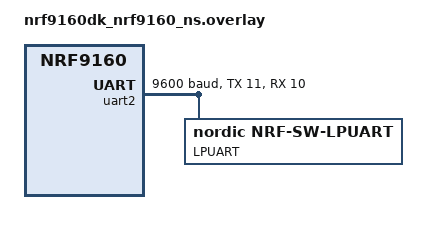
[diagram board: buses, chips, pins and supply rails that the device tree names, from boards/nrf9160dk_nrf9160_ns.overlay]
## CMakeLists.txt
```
#
# Copyright (c) 2020 Nordic Semiconductor
#
# SPDX-License-Identifier: LicenseRef-Nordic-5-Clause
#

cmake_minimum_required(VERSION 3.20.0)

find_package(Zephyr REQUIRED HINTS $ENV{ZEPHYR_BASE})

get_target_property(TFM_BINARY_DIR tfm TFM_BINARY_DIR)
configure_file(
  ${CMAKE_CURRENT_LIST_DIR}/dummy_partition/tfm_manifest_list.yaml.in
  ${CMAKE_CURRENT_BINARY_DIR}/dummy_partition/tfm_manifest_list.yaml
)

set_property(TARGET zephyr_property_target
  APPEND PROPERTY TFM_CMAKE_OPTIONS
  -DTFM_EXTRA_MANIFEST_LIST_FILES=${CMAKE_CURRENT_BINARY_DIR}/dummy_partition/tfm_manifest_list.yaml
  -DTFM_EXTRA_PARTITION_PATHS=${CMAKE_CURRENT_LIST_DIR}/dummy_partition
)

project(low_power_uart)



FILE(GLOB app_sources src/*.c)
zephyr_library_sources(src/uart.c)
zephyr_library_sources(src/gps.c)
zephyr_library_sources(src/save_data.c)

# NORDIC SDK APP START
target_sources(app PRIVATE
	${app_sources}
)
# NORDIC SDK APP END

target_include_directories(app PRIVATE
  $<TARGET_PROPERTY:tfm,TFM_BINARY_DIR>/install/interface/include
)

target_compile_definitions(app
    PRIVATE TFM_PARTITION_DUMMY_PARTITION
)
```

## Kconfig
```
#
# Copyright (c) 2020 Nordic Semiconductor ASA
#
# SPDX-License-Identifier: LicenseRef-Nordic-5-Clause
#

menu "GNSS sample"

choice
	default GNSS_SAMPLE_MODE_CONTINUOUS
	prompt "Select GNSS operation mode"

config GNSS_SAMPLE_MODE_CONTINUOUS
	bool "Continuous tracking"

config GNSS_SAMPLE_MODE_PERIODIC
	bool "Periodic fixes"

endchoice

if GNSS_SAMPLE_MODE_PERIODIC

config GNSS_SAMPLE_PERIODIC_INTERVAL
	int "Fix interval for periodic fixes"
	range 10 65535
	default 100
	help
	  Fix interval (in seconds) for periodic fixes.

config GNSS_SAMPLE_PERIODIC_TIMEOUT
	int "Fix timeout for periodic fixes"
	range 0 65535
	default 30
	help
	  Fix timeout (in seconds) for periodic fixes.
	  If set to zero, GNSS is allowed to run indefinitely until a valid PVT estimate is produced.

endif # GNSS_SAMPLE_MODE_PERIODIC

config GNSS_SAMPLE_NMEA_ONLY
	bool "Output only NMEA strings"
	help
	  Outputs only NMEA strings from the GNSS.

choice
	default GNSS_SAMPLE_ANTENNA_ONBOARD
	prompt "Select which antenna to use for GNSS"

config GNSS_SAMPLE_ANTENNA_ONBOARD
	bool "Use onboard antenna"

config GNSS_SAMPLE_ANTENNA_EXTERNAL
	bool "Use external antenna"

endchoice

config GNSS_SAMPLE_AT_MAGPIO
	string "AT%XMAGPIO command"
	default "AT\%XMAGPIO=1,0,0,1,1,1574,1577" if BOARD_NRF9160DK_NRF9160_NS
	default "AT\%XMAGPIO=1,1,1,7,1,746,803,2,698,748,2,1710,2200,3,824,894,4,880,960,5,791,849,7,1565,1586" if BOARD_THINGY91_NRF9160_NS
	help
	  Defines the AT%XMAGPIO command to be sent to GNSS module. Leave
	  empty if this command should not be sent.

config GNSS_SAMPLE_AT_COEX0
	string "AT%XCOEX0 command"
	default "AT\%XCOEX0=1,1,1565,1586" if (BOARD_NRF9160DK_NRF9160_NS || BOARD_THINGY91_NRF9160_NS) && GNSS_SAMPLE_ANTENNA_ONBOARD
	default "AT\%XCOEX0" if (BOARD_NRF9160DK_NRF9160_NS || BOARD_THINGY91_NRF9160_NS) && GNSS_SAMPLE_ANTENNA_EXTERNAL
	help
	  Defines the AT%XCOEX0 command to be sent to GNSS module. Leave
	  empty if this command should not be sent.

endmenu

choice
	default GNSS_SAMPLE_ASSISTANCE_NONE
	prompt "Select whether GNSS assistance is used or not"

config GNSS_SAMPLE_ASSISTANCE_NONE
	bool "Assistance not used"

config GNSS_SAMPLE_ASSISTANCE_NRF_CLOUD
	bool "Use nRF Cloud A-GPS or P-GPS"
	select NRF_CLOUD_REST
	imply NRF_CLOUD_AGPS
	select MODEM_JWT
	select MODEM_INFO
	select DATE_TIME

config GNSS_SAMPLE_ASSISTANCE_SUPL
	bool "Use SUPL A-GPS"
	select SUPL_CLIENT_LIB

endchoice

if !GNSS_SAMPLE_ASSISTANCE_NONE

config GNSS_SAMPLE_LTE_ON_DEMAND
	bool "LTE is activated only when needed to fetch A-GPS data"
	depends on !NRF_CLOUD_PGPS
	help
	  Activates LTE only when it is needed to fetch A-GPS data. This is not supported when
	  P-GPS is enabled.

endif # !GNSS_SAMPLE_ASSISTANCE_NONE

if GNSS_SAMPLE_ASSISTANCE_SUPL

config GNSS_SAMPLE_SUPL_HOSTNAME
	string "SUPL server hostname"
	help
	  SUPL server hostname.

config GNSS_SAMPLE_SUPL_PORT
	int "SUPL server port number"
	range 0 65535
	default 7276
	help
	  SUPL server port number.

endif # GNSS_SAMPLE_ASSISTANCE_SUPL

if GNSS_SAMPLE_MODE_CONTINUOUS

choice
	default GNSS_SAMPLE_POWER_SAVING_DISABLED
	prompt "Select GNSS power saving mode (duty-cycling)"

config GNSS_SAMPLE_POWER_SAVING_DISABLED
	bool "No power saving"

config GNSS_SAMPLE_POWER_SAVING_MODERATE
	bool "Power saving without significant performance degradation"

config GNSS_SAMPLE_POWER_SAVING_HIGH
	bool "Power saving with acceptable performance degradation"

endchoice

endif # GNSS_SAMPLE_MODE_CONTINUOUS

config GNSS_SAMPLE_LOW_ACCURACY
	bool "Allow low accuracy fixes"
	help
	  Allows fixes with lower accuracy.

menu "Zephyr Kernel"
source "Kconfig.zephyr"
endmenu

module = GNSS_SAMPLE
module-str = GNSS sample
source "${ZEPHYR_BASE}/subsys/logging/Kconfig.template.log_config"
```

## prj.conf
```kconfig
#
# Copyright (c) 2020 Nordic Semiconductor
#
# SPDX-License-Identifier: LicenseRef-Nordic-5-Clause
#
######### UART CONFIGURATION ######### 

# Sample is showing low power capabilities of low power uart module thus
# console/logging uart is disabled.
# Uncomment this section for debugging. Additionally, comment uart0 disabling
# in overlay.
#CONFIG_BOOTLOADER_MCUBOOT=y
#CONFIG_SPM=n
CONFIG_USE_SEGGER_RTT=n
CONFIG_LOG=y
CONFIG_NO_OPTIMIZATIONS=y
CONFIG_ASSERT=y
# Comment this section for debugging
#CONFIG_CONSOLE=n
#CONFIG_UART_CONSOLE=n

# Uncomment to use lpuart using interrupt driven API
# CONFIG_NRF_SW_LPUART_INT_DRIVEN=y
CONFIG_NRF_SW_LPUART=y



######### GPS CONFIGURATION ######### 
CONFIG_GNSS_SAMPLE_ANTENNA_EXTERNAL=n
# Enable to use nRF Cloud A-GPS

CONFIG_GNSS_SAMPLE_ASSISTANCE_NRF_CLOUD=n

CONFIG_GNSS_SAMPLE_MODE_PERIODIC=y

CONFIG_GNSS_SAMPLE_PERIODIC_TIMEOUT=30
CONFIG_GNSS_SAMPLE_PERIODIC_INTERVAL=100

# Modem library
CONFIG_NRF_MODEM_LIB=y

CONFIG_NEWLIB_LIBC=y 
CONFIG_NEWLIB_LIBC_NANO=n

CONFIG_LTE_LINK_CONTROL=y

# AT host library
CONFIG_AT_HOST_LIBRARY=y

# Stacks and heaps
CONFIG_MAIN_STACK_SIZE=3072
CONFIG_HEAP_MEM_POOL_SIZE=16384


CONFIG_LTE_NETWORK_MODE_NBIOT_GPS=y
# PSM requested periodic TAU 8 hours
CONFIG_LTE_PSM_REQ_RPTAU="00101000"
# PSM requested active time 6 seconds
CONFIG_LTE_PSM_REQ_RAT="00000011"
# Auto-connect should be left off as we want the application to control LTE
CONFIG_LTE_AUTO_INIT_AND_CONNECT=n


# Networking
CONFIG_NETWORKING=y
CONFIG_NET_SOCKETS_OFFLOAD=y
CONFIG_NET_SOCKETS=y
CONFIG_NET_SOCKETS_POSIX_NAMES=y
CONFIG_NET_SOCKETS_SOCKOPT_TLS=y
# Disable native network stack to save some memory
CONFIG_NET_NATIVE=n


CONFIG_FPU=y
CONFIG_NRF_MODEM_LIB=y


CONFIG_FLASH=y
CONFIG_FLASH_PAGE_LAYOUT=y
CONFIG_NVS=y
CONFIG_CJSON_LIB=y


# Enable loging using RTT and UART
CONFIG_CONSOLE=y
CONFIG_LOG=y
CONFIG_USE_SEGGER_RTT=y
CONFIG_LOG_BACKEND_RTT=y
CONFIG_LOG_BACKEND_UART=y
CONFIG_LOG_BUFFER_SIZE=15360
CONFIG_SEGGER_RTT_BUFFER_SIZE_UP=15360

# Enable nordic security backend and PSA APIs
CONFIG_NRF_SECURITY=y
CONFIG_MBEDTLS_PSA_CRYPTO_C=y

CONFIG_MBEDTLS_ENABLE_HEAP=y
CONFIG_MBEDTLS_HEAP_SIZE=8192

CONFIG_PSA_CRYPTO_DRIVER_OBERON=n
CONFIG_PSA_CRYPTO_DRIVER_CC3XX=y

CONFIG_SYS_CLOCK_TICKS_PER_SEC=1000


# Sample is showing low power capabilities of low power uart module thus
# console/logging uart is disabled.
# Uncomment this section for debugging. Additionally, comment uart0 disabling
# in overlay.



# Comment this section for debugging
#CONFIG_CONSOLE=n
#CONFIG_UART_CONSOLE=n

CONFIG_RESET_ON_FATAL_ERROR=n

CONFIG_STDOUT_CONSOLE=y

#TFM
CONFIG_BUILD_WITH_TFM=y
```

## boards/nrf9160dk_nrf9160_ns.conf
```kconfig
#
# Copyright (c) 2020 Nordic Semiconductor
#
# SPDX-License-Identifier: LicenseRef-Nordic-5-Clause
#

CONFIG_UART_2_ASYNC=y
CONFIG_UART_2_INTERRUPT_DRIVEN=n
CONFIG_UART_2_NRF_HW_ASYNC=y
CONFIG_UART_2_NRF_HW_ASYNC_TIMER=2
CONFIG_NRFX_TIMER2=y
```

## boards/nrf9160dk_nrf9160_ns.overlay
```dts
/* SPDX-License-Identifier: LicenseRef-Nordic-5-Clause */

&uart2 {
	status = "okay";
	rx-pin = <10>;
	tx-pin = <11>;
	current-speed = <9600>;
	/delete-property/ rts-pin;
	/delete-property/ cts-pin;

	lpuart: nrf-sw-lpuart {
		compatible = "nordic,nrf-sw-lpuart";
		status = "okay";
		label = "LPUART";
		req-pin = <12>;
		rdy-pin = <13>;
	};
};

// &uart0 {
// 	/delete-property/ rx-pin;
// };

&gpiote {
	interrupts = <49 NRF_DEFAULT_IRQ_PRIORITY>;
};

/* Disable uart1 in nonsecure since it is used by the TFM secure app. */
&uart1 {
	status = "disabled";
};
```

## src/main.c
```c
/*
 * Copyright (c) 2020 Nordic Semiconductor ASA
 *
 * SPDX-License-Identifier: LicenseRef-Nordic-5-Clause
 */
#include "gps_uart.h"

uint32_t start_time;
uint32_t cycles_spent;
cJSON *root, *dataToSent, *data;

void createJson(){
   	char *out;
	/* create root node and array */
	root = cJSON_CreateObject();

	if (get_saved_data() == 1){
		root = cJSON_Parse(stored_data);
    	dataToSent = cJSON_GetObjectItemCaseSensitive(root, "data");
		// cJSON_ArrayForEach(data, dataToSent)
		// {
		// 	cJSON *qrCode = cJSON_GetObjectItemCaseSensitive(data, "qr");
		// 	printk("qrCode: %s\n", qrCode->valuestring);
		// }

	}else{
		dataToSent = cJSON_CreateArray();
		/* add array to root */
		cJSON_AddItemToObject(root, "data", dataToSent);
	}	
	/* print everything */
	out = cJSON_Print(root);
	printk("data saved: \n%s\n", out);
}


void main(void)
{
	
	const struct device *lpuart;
	createJson();
	k_msleep(1000);

	lpuart = device_get_binding("UART_2");
	__ASSERT(lpuart, "Failed to get the device");
	//START READING QR CODE
	async(lpuart);
	
	//START READING LOCATION FROM GPS
	init_gps();
	start_gps();
}


void start_gps(void)
{
    latitude = 0;
    longitude = 0;
	int found_gps = 0;
	while(1) {
		found_gps = search();
		if (found_gps == 1){
			start_time = k_cycle_get_32()/32768;
			printk("Latitude from main: %.06f\n", latitude);
			printk("Longitude from main: %.06f\n", longitude);
			printk("Date from main: %04u-%02u-%02u\n", year, month, day);
			printk("Time from main (UTC): %02u:%02u:%02u\n", hour, minute, seconds);
		}else{
			
		}
		transmit();
		k_msleep(1000);
	}
}


// void disable_uart(){
//     NRF_UARTE0->TASKS_STOPTX = 1;
//     NRF_UARTE0->TASKS_STOPRX = 1;

//     NRF_UARTE3->TASKS_STOPTX = 1;
//     NRF_UARTE3->TASKS_STOPRX = 1;
// }

// void enable_uart(){
//     NRF_UARTE0->TASKS_STARTRX = 1;
//     NRF_UARTE3->TASKS_STARTRX = 1;
// }

void transmit(void) {
	
	// printk("QRCODE %s\n", qrCodeToSend);
	// printk("OLD QRCODE %s\n", oldQrCode);
    // if (latitude == 0 || longitude == 0){
    //     return;
    // }
	if(isStringEmpty(finalQrCode) == 0 || strcmp(oldQrCode, finalQrCode) == 0){
		return;
	}

    convert_time();
	char *out;
	char latitude_string[50];
	char longitude_string[50];
    
	char hour_string[3];
	char minute_string[3];
	char seconds_string[3];

    char year_string[5];
	char month_string[3];
	char day_string[3];

	char time[11];
	char date[15];


    snprintf(latitude_string, 50, "%f", latitude);
    snprintf(longitude_string, 50, "%f", longitude);

    snprintf(hour_string, 3, "%d", hour);
    snprintf(minute_string, 3, "%d", minute);
    snprintf(seconds_string, 3, "%d", seconds);

    snprintf(year_string, 5, "%d", year);
    snprintf(month_string, 3, "%d", month);
    snprintf(day_string, 3, "%d", day);
    
    strcat(time, hour_string);
    strcat(time, ":");
    strcat(time, minute_string);
    strcat(time, ":");
    strcat(time, seconds_string);

    strcat(date, day_string);
    strcat(date, "/");
    strcat(date, month_string);
    strcat(date, "/");
    strcat(date, year_string);

    printk("date: %s\n", date);
	printk("time: %s\n", time);

	/* add data to array */
	data = cJSON_CreateObject();
	cJSON_AddItemToObject(data, "qr", cJSON_CreateString(finalQrCode));
	cJSON_AddItemToObject(data, "latitude", cJSON_CreateString(latitude_string));
	cJSON_AddItemToObject(data, "longitude", cJSON_CreateString(longitude_string));
    cJSON_AddItemToObject(data, "date", cJSON_CreateString(date));
	cJSON_AddItemToObject(data, "time", cJSON_CreateString(time));
	cJSON_AddItemToArray(dataToSent, data);

	/* save everything */
	out = cJSON_Print(root);
	save_data(out);

	strcpy(oldQrCode, finalQrCode);
	memset(finalQrCode, 0, sizeof finalQrCode);
	memset(date, 0, sizeof date);
	memset(time, 0, sizeof time);

	// free(out);
	// printk("eeee");
	// /* free all objects under root and root itself */
	// cJSON_Delete(root);
}

//aggiorno l'orario preso dal gps per ottenere l'orario della scansione del qrcode
void convert_time(){
	if (current_time_for_gps_comparison <= start_time)
	{
		return;
	}
    cycles_spent = current_time_for_gps_comparison - start_time;
    printk("Seconds to add to last time: %d\n", cycles_spent);

    int x = hour * 3600 + minute * 60 + seconds; 
    int y = cycles_spent;
    int z = x + y;

    int newHour = z/3600;
    int newMinute = (z % 3600)/60;
    int newSeconds = (z % 3600)%60;

	hour = newHour;
	minute = newMinute;
	seconds = newSeconds;
	//TODO Fare controlli se orario > 00:00 e se data sfora con giorni mesi anni
}

int isStringEmpty(char *str){
    if (strlen(str) == 0)
    {
        return 0;
    }
    return 1;
}
```

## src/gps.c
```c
#include <string.h>
#include <zephyr.h>
#include <logging/log.h>
#include <nrf_modem_at.h>
#include <nrf_modem_gnss.h>
#include <modem/lte_lc.h>
#include <date_time.h>
#include "cJSON.h"
#include <stdlib.h>
#include <stdio.h>
#include <stdlib.h>
#include <drivers/flash.h>
#include <storage/flash_map.h>
#include <fs/nvs.h>


uint8_t cnt = 0;
struct nrf_modem_gnss_nmea_data_frame *nmea_data;

uint64_t fix_timestamp = 0;

uint8_t hour = 0;
uint8_t minute = 0;
uint8_t seconds = 0;

uint16_t year = 0;
uint8_t month = 0;
uint8_t day = 0;

double latitude = 0;
double longitude = 0;
int flag_gps = 0;
LOG_MODULE_REGISTER(gnss_sample, CONFIG_GNSS_SAMPLE_LOG_LEVEL);


static struct nrf_modem_gnss_pvt_data_frame last_pvt;

static const char update_indicator[] = {'\\', '|', '/', '-'};

static struct nrf_modem_gnss_pvt_data_frame last_pvt;

K_MSGQ_DEFINE(nmea_queue, sizeof(struct nrf_modem_gnss_nmea_data_frame *), 10, 4);
static K_SEM_DEFINE(pvt_data_sem, 0, 1);
static K_SEM_DEFINE(time_sem, 0, 1);

static struct k_poll_event events[2] = {
	K_POLL_EVENT_STATIC_INITIALIZER(K_POLL_TYPE_SEM_AVAILABLE,
					K_POLL_MODE_NOTIFY_ONLY,
					&pvt_data_sem, 0),
	K_POLL_EVENT_STATIC_INITIALIZER(K_POLL_TYPE_MSGQ_DATA_AVAILABLE,
					K_POLL_MODE_NOTIFY_ONLY,
					&nmea_queue, 0),
};


BUILD_ASSERT(IS_ENABLED(CONFIG_LTE_NETWORK_MODE_LTE_M_GPS) ||
	     IS_ENABLED(CONFIG_LTE_NETWORK_MODE_NBIOT_GPS) ||
	     IS_ENABLED(CONFIG_LTE_NETWORK_MODE_LTE_M_NBIOT_GPS),
	     "CONFIG_LTE_NETWORK_MODE_LTE_M_GPS, "
	     "CONFIG_LTE_NETWORK_MODE_NBIOT_GPS or "
	     "CONFIG_LTE_NETWORK_MODE_LTE_M_NBIOT_GPS must be enabled");



void nrf_modem_recoverable_error_handler(uint32_t error)
{
	LOG_ERR("Modem library recoverable error: %u", error);
}

void gnss_event_handler(int event)
{
	int retval;
	struct nrf_modem_gnss_nmea_data_frame *nmea_data;

	switch (event) {
	case NRF_MODEM_GNSS_EVT_PVT:

		retval = nrf_modem_gnss_read(&last_pvt, sizeof(last_pvt), NRF_MODEM_GNSS_DATA_PVT);
		if (retval == 0) {
			k_sem_give(&pvt_data_sem);
		}
		break;

	case NRF_MODEM_GNSS_EVT_NMEA:
		nmea_data = k_malloc(sizeof(struct nrf_modem_gnss_nmea_data_frame));
		if (nmea_data == NULL) {
			LOG_ERR("Failed to allocate memory for NMEA");
			break;
		}

		retval = nrf_modem_gnss_read(nmea_data,
					     sizeof(struct nrf_modem_gnss_nmea_data_frame),
					     NRF_MODEM_GNSS_DATA_NMEA);
		if (retval == 0) {
			retval = k_msgq_put(&nmea_queue, &nmea_data, K_NO_WAIT);
		}

		if (retval != 0) {
			
			k_free(nmea_data);
		}
		break;

	default:
		break;
	}
}



void date_time_evt_handler(const struct date_time_evt *evt)
{
	k_sem_give(&time_sem);
}

int modem_init(void)
{
	if (strlen(CONFIG_GNSS_SAMPLE_AT_MAGPIO) > 0) {
		if (nrf_modem_at_printf("%s", CONFIG_GNSS_SAMPLE_AT_MAGPIO) != 0) {
			LOG_ERR("Failed to set MAGPIO configuration");
			return -1;
		}
	}

	if (strlen(CONFIG_GNSS_SAMPLE_AT_COEX0) > 0) {
		if (nrf_modem_at_printf("%s", CONFIG_GNSS_SAMPLE_AT_COEX0) != 0) {
			LOG_ERR("Failed to set COEX0 configuration");
			return -1;
		}
	}

	if (lte_lc_init() != 0) {
		LOG_ERR("Failed to initialize LTE link controller");
		return -1;
	}

	if (IS_ENABLED(CONFIG_DATE_TIME)) {
		date_time_register_handler(date_time_evt_handler);
	}

#if defined(CONFIG_GNSS_SAMPLE_ASSISTANCE_NONE) || defined(CONFIG_GNSS_SAMPLE_LTE_ON_DEMAND)
#if defined(CONFIG_GNSS_SAMPLE_LTE_ON_DEMAND)
	lte_lc_register_handler(lte_lc_event_handler);
#endif /* CONFIG_GNSS_SAMPLE_LTE_ON_DEMAND */

	if (lte_lc_func_mode_set(LTE_LC_FUNC_MODE_ACTIVATE_GNSS) != 0) {
		LOG_ERR("Failed to enable GNSS");
		return -1;
	}
#else

#endif

	return 0;
}

int sample_init(void)
{
	int err = 0;



	return err;
}

int gnss_init_and_start(void)
{
	/* Configure GNSS */
	if (nrf_modem_gnss_event_handler_set(gnss_event_handler) != 0) {
		LOG_ERR("Failed to set GNSS event handler");
		return -1;
	}

	/* Enable all supported NMEA messages. */
	uint16_t nmea_mask = NRF_MODEM_GNSS_NMEA_RMC_MASK |
			     NRF_MODEM_GNSS_NMEA_GGA_MASK |
			     NRF_MODEM_GNSS_NMEA_GLL_MASK |
			     NRF_MODEM_GNSS_NMEA_GSA_MASK |
			     NRF_MODEM_GNSS_NMEA_GSV_MASK;

	if (nrf_modem_gnss_nmea_mask_set(nmea_mask) != 0) {
		LOG_ERR("Failed to set GNSS NMEA mask");
		return -1;
	}

	/* This use case flag should always be set. */
	uint8_t use_case = NRF_MODEM_GNSS_USE_CASE_MULTIPLE_HOT_START;

	if (IS_ENABLED(CONFIG_GNSS_SAMPLE_MODE_PERIODIC) &&
	    !IS_ENABLED(CONFIG_GNSS_SAMPLE_ASSISTANCE_NONE)) {
		/* Disable GNSS scheduled downloads when assistance is used. */
		use_case |= NRF_MODEM_GNSS_USE_CASE_SCHED_DOWNLOAD_DISABLE;
	}

	if (IS_ENABLED(CONFIG_GNSS_SAMPLE_LOW_ACCURACY)) {
		use_case |= NRF_MODEM_GNSS_USE_CASE_LOW_ACCURACY;
	}

	if (nrf_modem_gnss_use_case_set(use_case) != 0) {
		LOG_ERR("Failed to set GNSS use case");
		return -1;
	}

#if defined(CONFIG_GNSS_SAMPLE_MODE_CONTINUOUS)
	/* Default to no power saving. */
	uint8_t power_mode = NRF_MODEM_GNSS_PSM_DISABLED;

#if defined(GNSS_SAMPLE_POWER_SAVING_MODERATE)
	power_mode = NRF_MODEM_GNSS_PSM_DUTY_CYCLING_PERFORMANCE;
#elif defined(GNSS_SAMPLE_POWER_SAVING_HIGH)
	power_mode = NRF_MODEM_GNSS_PSM_DUTY_CYCLING_POWER;
#endif

	if (nrf_modem_gnss_power_mode_set(power_mode) != 0) {
		LOG_ERR("Failed to set GNSS power saving mode");
		return -1;
	}
#endif /* CONFIG_GNSS_SAMPLE_MODE_CONTINUOUS */

	/* Default to continuous tracking. */
	uint16_t fix_retry = 0;
	uint16_t fix_interval = 1;

// #if defined(CONFIG_GNSS_SAMPLE_MODE_PERIODIC)
	fix_retry = CONFIG_GNSS_SAMPLE_PERIODIC_TIMEOUT;//Intervallo di tempo in cui il gps va in timeout e non richiede nuovamente la posizione(dopo il primo ottenimento di una posizione)
	fix_interval = CONFIG_GNSS_SAMPLE_PERIODIC_INTERVAL;//Intervallo di tempo in cui il gps richiede la posizione e poi va in timeout(dopo il primo ottenimento di una posizione)
// #endif

	if (nrf_modem_gnss_fix_retry_set(fix_retry) != 0) {
		LOG_ERR("Failed to set GNSS fix retry");
		return -1;
	}

	if (nrf_modem_gnss_fix_interval_set(fix_interval) != 0) {
		LOG_ERR("Failed to set GNSS fix interval");
		return -1;
	}

	if (nrf_modem_gnss_start() != 0) {
		LOG_ERR("Failed to start GNSS");
		return -1;
	}

	return 0;
}

bool output_paused(void)
{
#if defined(CONFIG_GNSS_SAMPLE_ASSISTANCE_NONE) || !defined(CONFIG_GNSS_SAMPLE_LOG_LEVEL_INF)
	return false;
#else

#endif
}

void print_satellite_stats(struct nrf_modem_gnss_pvt_data_frame *pvt_data)
{
	uint8_t tracked   = 0;
	uint8_t in_fix    = 0;
	uint8_t unhealthy = 0;

	for (int i = 0; i < NRF_MODEM_GNSS_MAX_SATELLITES; ++i) {
		if (pvt_data->sv[i].sv > 0) {
			tracked++;

			if (pvt_data->sv[i].flags & NRF_MODEM_GNSS_SV_FLAG_USED_IN_FIX) {
				in_fix++;
			}

			if (pvt_data->sv[i].flags & NRF_MODEM_GNSS_SV_FLAG_UNHEALTHY) {
				unhealthy++;
			}
		}
	}

	printk("Tracking: %2d Using: %2d Unhealthy: %d\n", tracked, in_fix, unhealthy);
}

int set_gps_data(struct nrf_modem_gnss_pvt_data_frame *pvt_data)
{
	// printk("Latitude:       %.06f\n", pvt_data->latitude);
	// printk("Longitude:      %.06f\n", pvt_data->longitude);
	// printk("Altitude:       %.01f m\n", pvt_data->altitude);
	// printk("Accuracy:       %.01f m\n", pvt_data->accuracy);
	// printk("Speed:          %.01f m/s\n", pvt_data->speed);
	// printk("Speed accuracy: %.01f m/s\n", pvt_data->speed_accuracy);
	// printk("Heading:        %.01f deg\n", pvt_data->heading);
	// printk("Date:           %04u-%02u-%02u\n",
	//        pvt_data->datetime.year,
	//        pvt_data->datetime.month,
	//        pvt_data->datetime.day);
	// printk("Time (UTC):     %02u:%02u:%02u.%03u\n",
	//        pvt_data->datetime.hour,
	//        pvt_data->datetime.minute,
	//        pvt_data->datetime.seconds,
	//        pvt_data->datetime.ms);
	// printk("PDOP:           %.01f\n", pvt_data->pdop);
	// printk("HDOP:           %.01f\n", pvt_data->hdop);
	// printk("VDOP:           %.01f\n", pvt_data->vdop);
	// printk("TDOP:           %.01f\n", pvt_data->tdop);
			/* capture initial time stamp */

	if (pvt_data->datetime.hour == hour && pvt_data->datetime.minute == minute && pvt_data->datetime.seconds == seconds){
		events[0].state = K_POLL_STATE_NOT_READY;
		events[1].state = K_POLL_STATE_NOT_READY;
		return 0;
	}
	latitude = pvt_data->latitude;
	longitude = pvt_data->longitude;

	hour = pvt_data->datetime.hour;
	minute = pvt_data->datetime.minute;
	seconds = pvt_data->datetime.seconds;

	year = pvt_data->datetime.year;
	month = pvt_data->datetime.month;
	day = pvt_data->datetime.day;
	return 1;
}

int init_gps(void){


	LOG_INF("Starting GNSS sample");

	if (modem_init() != 0) {
		LOG_ERR("Failed to initialize modem");
		return -1;
	}

	if (sample_init() != 0) {
		LOG_ERR("Failed to initialize sample");
		return -1;
	}

	if (gnss_init_and_start() != 0) {
		LOG_ERR("Failed to initialize and start GNSS");
		return -1;
	}

	fix_timestamp = k_uptime_get();
}

int search(void)
{
		(void)k_poll(events, 2, K_FOREVER);
		// && k_sem_take(events[0].sem, K_NO_WAIT) == 0
		
		if (events[0].state == K_POLL_STATE_SEM_AVAILABLE )
		    {
			/* New PVT data available */

			if (!IS_ENABLED(CONFIG_GNSS_SAMPLE_NMEA_ONLY) &&
			    !output_paused()) {
				// printk("\033[1;1H");
				// printk("\033[2J");
				// print_satellite_stats(&last_pvt);

				if (last_pvt.flags & NRF_MODEM_GNSS_PVT_FLAG_DEADLINE_MISSED) {
					printk("GNSS operation blocked by LTE\n");
				}
				if (last_pvt.flags &
				    NRF_MODEM_GNSS_PVT_FLAG_NOT_ENOUGH_WINDOW_TIME) {
					printk("Insufficient GNSS time windows\n");
				}
				if (last_pvt.flags & NRF_MODEM_GNSS_PVT_FLAG_SLEEP_BETWEEN_PVT) {
					printk("Sleep period(s) between PVT notifications\n");
				}

				if (last_pvt.flags & NRF_MODEM_GNSS_PVT_FLAG_FIX_VALID) {
					fix_timestamp = k_uptime_get();
					flag_gps = set_gps_data(&last_pvt);
				} else {
					flag_gps = 0;
					printk("-----------------------------------\n");
					printk("Seconds since last fix: %lld\n",
					       (k_uptime_get() - fix_timestamp) / 1000);
					cnt++;
					printk("Searching [%c]\n", update_indicator[cnt%4]);
				}

				// printk("\nNMEA strings:\n\n");
			}
		}
		if (events[1].state == K_POLL_STATE_MSGQ_DATA_AVAILABLE &&
		    k_msgq_get(events[1].msgq, &nmea_data, K_NO_WAIT) == 0) {
			/* New NMEA data available */

			if (!output_paused()) {
				// printk("%s", nmea_data->nmea_str);
			}
			k_free(nmea_data);
		}

		events[0].state = K_POLL_STATE_NOT_READY;
		events[1].state = K_POLL_STATE_NOT_READY;
		return flag_gps;

}
```

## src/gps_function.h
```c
#include <string.h>
#include <zephyr.h>
#include <logging/log.h>
#include <nrf_modem_at.h>
#include <nrf_modem_gnss.h>
#include <modem/lte_lc.h>
#include <date_time.h>
#include "cJSON.h"
#include <stdlib.h>
#include <stdio.h>
#include <stdlib.h>
#include <drivers/flash.h>
#include <storage/flash_map.h>
#include <fs/nvs.h>
#include <drivers/uart.h>




extern uint32_t start_time;
extern uint32_t current_time;
extern uint8_t hour;
extern uint8_t minute;
extern uint8_t seconds;
extern uint16_t year;
extern uint8_t month;
extern uint8_t day;
extern double latitude;
extern double longitude;
extern char oldQrCode[1000];
extern char finalQrCode[1000];

int init_gps(void);
int search(void);
bool output_paused(void);
void print_satellite_stats(struct nrf_modem_gnss_pvt_data_frame *pvt_data);
void print_fix_data(struct nrf_modem_gnss_pvt_data_frame *pvt_data);

void async(const struct device *lpuart);

void uart_callback(const struct device *dev,struct uart_event *evt, void *user_data);
```

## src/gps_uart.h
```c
#include <string.h>
#include <zephyr.h>
#include <logging/log.h>
#include <nrf_modem_at.h>
#include <nrf_modem_gnss.h>
#include <modem/lte_lc.h>
#include <date_time.h>
#include "cJSON.h"
#include <stdlib.h>
#include <stdio.h>
#include <stdlib.h>
#include <drivers/flash.h>
#include <storage/flash_map.h>
#include <fs/nvs.h>
#include <drivers/uart.h>

#include <sys/printk.h>
#include <psa/crypto.h>
#include <psa/crypto_extra.h>

#include <psa/storage_common.h>
#include <psa/protected_storage.h>

#ifdef CONFIG_BUILD_WITH_TFM
#include <tfm_ns_interface.h>
#endif



extern uint32_t start_time;
extern uint32_t current_time_for_gps_comparison;
extern uint8_t hour;
extern uint8_t minute;
extern uint8_t seconds;
extern uint16_t year;
extern uint8_t month;
extern uint8_t day;
extern double latitude;
extern double longitude;
extern char oldQrCode[1000];
extern char finalQrCode[1000];

extern char *stored_data;

int init_gps(void);
int search(void);
bool output_paused(void);
void print_satellite_stats(struct nrf_modem_gnss_pvt_data_frame *pvt_data);
void print_fix_data(struct nrf_modem_gnss_pvt_data_frame *pvt_data);

void async(const struct device *lpuart);

void uart_callback(const struct device *dev,struct uart_event *evt, void *user_data);
int get_saved_data(void);
int save_data(char *data_to_save);

#define APP_SUCCESS		(0)
#define APP_ERROR		(-1)
#define APP_SUCCESS_MESSAGE "Example finished successfully!"
#define APP_ERROR_MESSAGE "Example exited with error!"

#define PRINT_HEX(p_label, p_text, len)\
	({\
		LOG_INF("---- %s (len: %u): ----", p_label, len);\
		LOG_HEXDUMP_INF(p_text, len, "Content:");\
		LOG_INF("---- %s end  ----", p_label);\
	})

LOG_MODULE_REGISTER(ecdsa, LOG_LEVEL_DBG);

/* ====================================================================== */
/*				Global variables/defines for the ECDSA example			  */

#define NRF_CRYPTO_EXAMPLE_ECDSA_TEXT_SIZE (100)

#define NRF_CRYPTO_EXAMPLE_ECDSA_PUBLIC_KEY_SIZE (65)
#define NRF_CRYPTO_EXAMPLE_ECDSA_SIGNATURE_SIZE (64)
#define NRF_CRYPTO_EXAMPLE_ECDSA_HASH_SIZE (32)

/* Below text is used as plaintext for signing/verification */
static uint8_t m_plain_text[NRF_CRYPTO_EXAMPLE_ECDSA_TEXT_SIZE] = {
	"Example string to demonstrate basic usage of ECDSA."
};

static uint8_t m_pub_key[NRF_CRYPTO_EXAMPLE_ECDSA_PUBLIC_KEY_SIZE];

static uint8_t m_signature[NRF_CRYPTO_EXAMPLE_ECDSA_SIGNATURE_SIZE];
static uint8_t m_hash[NRF_CRYPTO_EXAMPLE_ECDSA_HASH_SIZE];

static psa_key_handle_t keypair_handle;
static psa_key_handle_t pub_key_handle;
```

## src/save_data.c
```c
#include <zephyr.h>
#include <string.h>
#include <sys/printk.h>
#include <psa/storage_common.h>
#include <psa/protected_storage.h>

char *stored_data;

size_t getInfo(void){
	struct psa_storage_info_t uid1_info;
	psa_status_t status = 0;
	psa_storage_uid_t uid1 = 1;
	printk("Protected Storage sample started.\n");
	printk("PSA Protected Storage API Version %d.%d\n",
			PSA_PS_API_VERSION_MAJOR, PSA_PS_API_VERSION_MINOR);

	/* Get info on UID1 */	
	status = psa_ps_get_info(uid1, &uid1_info);
	if (status != PSA_SUCCESS){
		printk("Failed to get info! (%d)\n", status);
		return;
	}
	printk("Info on data stored in UID1:\n");
	printk("- Size: %d\n", uid1_info.size);
	printk("- Capacity: 0x%2x\n", uid1_info.capacity);
	printk("- Flags: 0x%2x\n", uid1_info.flags);
	size_t size = uid1_info.size;

	return size;
	// printk("Removing UID1\n");
	// status = psa_ps_remove(uid1);
	// if (status != PSA_SUCCESS) {
	// 	printk("Failed to remove UID1! (%d)\n", status);
	// 	return;
	// }
}


int save_data(char *data_to_save){
    psa_status_t status = 0;

	printk("Writing data to UID1: %s\n", data_to_save);

	psa_storage_uid_t uid1 = 1;
	psa_storage_create_flags_t uid1_flag = PSA_STORAGE_FLAG_NO_CONFIDENTIALITY;
	printk("size of data: %d\n", strlen(data_to_save));

	status = psa_ps_set(uid1, strlen(data_to_save), data_to_save, uid1_flag);
	if (status != PSA_SUCCESS){
		printk("Failed to store data! (%d)\n", status);
		return 0;
	}
    return 1;
}

int get_saved_data(){
    //DA VEDERE PERCHé non prende i dati salvati!!!
    printk("Read and compare data stored in UID1\n");
	size_t bytes_read;
    psa_status_t status = 0;
	psa_storage_uid_t uid1 = 1;
	// int size = sizeof(stored_data);
	// memset(stored_data, 0, sizeof stored_data);
	size_t size = getInfo();
	stored_data = k_malloc(size);
	printk("- Size: %d\n", size);

	status = psa_ps_get(uid1, 0, size, stored_data, &bytes_read);
	if (status != PSA_SUCCESS){
		printk("Failed to get data stored in UID1! (%d)\n", status);
		return 0;
	}
	printk("Data stored in UID1: %s\n", stored_data);

	// memset(stored_data, 0, sizeof stored_data);
    return 1;
}
```

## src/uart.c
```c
#include <string.h>
#include <zephyr.h>
#include <logging/log.h>
#include <nrf_modem_at.h>
#include <nrf_modem_gnss.h>
#include <modem/lte_lc.h>
#include <date_time.h>
#include "cJSON.h"
#include <stdlib.h>
#include <stdio.h>
#include <stdlib.h>
#include <drivers/flash.h>
#include <storage/flash_map.h>
#include <fs/nvs.h>

#include <drivers/uart.h>

#define BUF_SIZE 10

typedef uint8_t u8;
typedef uint32_t u32;
uint32_t previous_qr_code_time;
uint32_t current_qr_code_time;
uint32_t current_time_for_gps_comparison;

static K_MEM_SLAB_DEFINE(uart_slab, BUF_SIZE, 3, 4);

static struct nvs_fs fs;
int nCharToRemove;
char oldQrCode[1000] = "";
char finalQrCode[1000] = "";

void uart_callback(const struct device *dev,struct uart_event *evt, void *user_data){
	struct device *uart = user_data;
	int err;
	switch (evt->type) {
	case UART_TX_DONE:
	break;

	case UART_TX_ABORTED:
		// LOG_ERR("Tx aborted");
	break;

	case UART_RX_RDY:
		current_qr_code_time = k_uptime_get();
		current_time_for_gps_comparison = k_cycle_get_32()/32768;

		if ((current_qr_code_time - previous_qr_code_time) > 300){
			memset(finalQrCode, 0, strlen(finalQrCode));
		}
    	for(u32 i = 0; i < evt->data.rx.len; i++){
    		strncat(finalQrCode, &evt->data.rx.buf[evt->data.rx.offset + i], 1);
      	}
		printk("%s\n", finalQrCode);
			/* capture final time stamp */

		previous_qr_code_time = k_uptime_get();

		printk("Time in ms: %d\n", current_qr_code_time);

	break;

	case UART_RX_BUF_REQUEST:{
		uint8_t *buf;

		err = k_mem_slab_alloc(&uart_slab, (void **)&buf, K_NO_WAIT);
		__ASSERT(err == 0, "Failed to allocate slab");

		err = uart_rx_buf_rsp(uart, buf, BUF_SIZE);
		__ASSERT(err == 0, "Failed to provide new buffer");
	break;

	}

	case UART_RX_BUF_RELEASED:
		k_mem_slab_free(&uart_slab, (void **)&evt->data.rx_buf.buf);
		break;

	case UART_RX_DISABLED:
		printk("DISABLED");

		break;

	case UART_RX_STOPPED:
		printk("STOPPED");

		break;
	}
}

void async(const struct device *lpuart){
	uint8_t txbuf[5] = {1, 2, 3, 4, 5};
	int err;
	uint8_t *buf;
	err = k_mem_slab_alloc(&uart_slab, (void **)&buf, K_NO_WAIT);
	__ASSERT(err == 0, "Failed to alloc slab");

	err = uart_callback_set(lpuart, uart_callback, (void *)lpuart);
	__ASSERT(err == 0, "Failed to set callback");

	err = uart_rx_enable(lpuart, buf, BUF_SIZE, 10000);
	__ASSERT(err == 0, "Failed to enable RX");
	
	// while (1) {


	// 	k_sleep(K_MSEC(500));
	// 	transmit();
	// }
}
```
